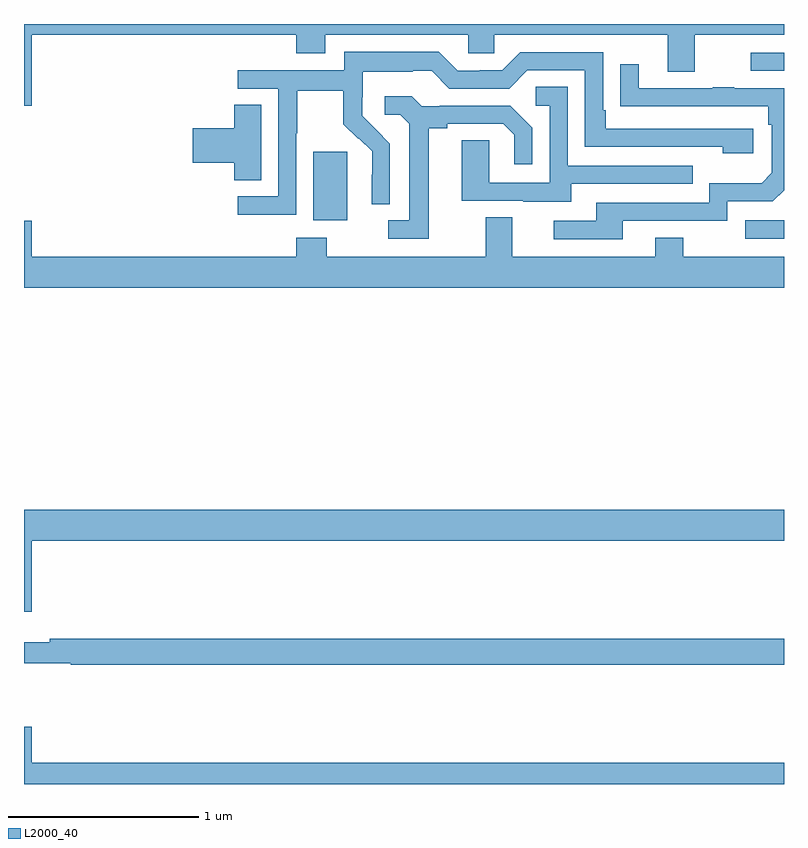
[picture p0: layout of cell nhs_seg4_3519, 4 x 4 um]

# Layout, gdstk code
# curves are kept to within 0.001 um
import gdstk
lib = gdstk.Library(unit=1e-6, precision=1e-09)
def R(c, l, rs):  # rectangles x0, y0, x1, y1
    for r in rs: c.add(gdstk.rectangle(r[:2], r[2:], *l))
def P(c, l, *ps):  # polygons
    for p in ps: c.add(gdstk.Polygon(p, *l))
L2000_40 = (2000, 40)

nhs_seg4_3519 = lib.new_cell('nhs_seg4_3519')
R(nhs_seg4_3519, L2000_40, [(300.795,771.771,301,771.867), (298.523,771.866,298.702,772.227), (300.825,772.653,301,772.749)])
P(nhs_seg4_3519, L2000_40, [(297.04,772.844),(298.433,772.844),(298.433,772.745),(298.585,772.745),(298.585,772.844),(299.337,772.844),(299.337,772.746),(299.475,772.746),(299.475,772.844),(300.389,772.844),(300.389,772.65),(300.529,772.65),(300.529,772.844),(301,772.844),(301,772.9),(297,772.9),(297,772.47),(297.04,772.47)],
  [(298.434,772.324),(298.437,772.324),(298.437,772.548),(298.681,772.548),(298.681,772.373),(298.758,772.296),(298.761,772.299),(298.832,772.229),(298.832,772.106),(298.83,772.106),(298.83,771.952),(298.926,771.952),(298.926,772.27),(298.78,772.418),(298.78,772.515),(298.782,772.515),(298.782,772.649),(299.045,772.649),(299.045,772.653),(299.145,772.653),(299.238,772.56),(299.553,772.56),(299.649,772.656),(299.952,772.656),(299.952,772.254),(300.677,772.254),(300.677,772.22),(300.838,772.22),(300.838,772.35),(300.061,772.35),(300.061,772.447),(300.048,772.447),(300.048,772.752),(299.613,772.752),(299.517,772.656),(299.399,772.656),(299.399,772.653),(299.283,772.653),(299.183,772.753),(298.686,772.753),(298.686,772.656),(298.125,772.656),(298.125,772.56),(298.338,772.56),(298.338,771.993),(298.125,771.993),(298.125,771.895),(298.434,771.895)],
  [(300.151,771.864),(300.702,771.864),(300.702,771.966),(300.942,771.966),(301,772.024),(301,772.563),(300.737,772.563),(300.737,772.568),(300.625,772.568),(300.625,772.563),(300.235,772.563),(300.235,772.687),(300.139,772.687),(300.139,772.468),(300.916,772.467),(300.916,772.37),(300.936,772.37),(300.936,772.116),(300.883,772.063),(300.606,772.063),(300.606,771.96),(300.011,771.96),(300.011,771.864),(299.787,771.864),(299.787,771.768),(300.151,771.768)],
  [(299.881,772.059),(300.521,772.059),(300.521,772.155),(299.862,772.155),(299.862,772.571),(299.694,772.571),(299.694,772.47),(299.766,772.47),(299.766,772.065),(299.448,772.065),(299.448,772.289),(299.303,772.289),(299.303,771.969),(299.627,771.969),(299.627,771.965),(299.881,771.965)],
  [(299.131,772.352),(299.227,772.352),(299.227,772.374),(299.522,772.374),(299.579,772.317),(299.579,772.161),(299.676,772.161),(299.676,772.354),(299.56,772.47),(299.188,772.47),(299.188,772.467),(299.094,772.467),(299.042,772.519),(298.899,772.519),(298.899,772.422),(298.98,772.422),(299.027,772.375),(299.027,771.867),(298.917,771.867),(298.917,771.771),(299.131,771.771)],
  [(298.249,772.475),(298.106,772.475),(298.106,772.352),(297.888,772.352),(297.888,772.169),(298.106,772.169),(298.106,772.078),(298.249,772.078)],
  [(301,771.676),(300.471,771.676),(300.471,771.775),(300.323,771.775),(300.323,771.676),(299.569,771.676),(299.569,771.884),(299.429,771.884),(299.429,771.676),(298.593,771.676),(298.593,771.775),(298.433,771.775),(298.433,771.676),(297.04,771.676),(297.04,771.865),(297,771.865),(297,771.512),(301,771.512)],
  [(297.04,770.18),(301,770.18),(301,770.344),(297,770.344),(297,769.806),(297.04,769.806)],
  [(301,769.664),(297.136,769.664),(297.136,769.645),(297,769.645),(297,769.536),(297.245,769.536),(297.245,769.528),(301,769.528)],
  [(301,769.012),(297.04,769.012),(297.04,769.201),(297,769.201),(297,768.9),(301,768.9)])

lib.write_gds('nhs_seg4_3519.gds')
